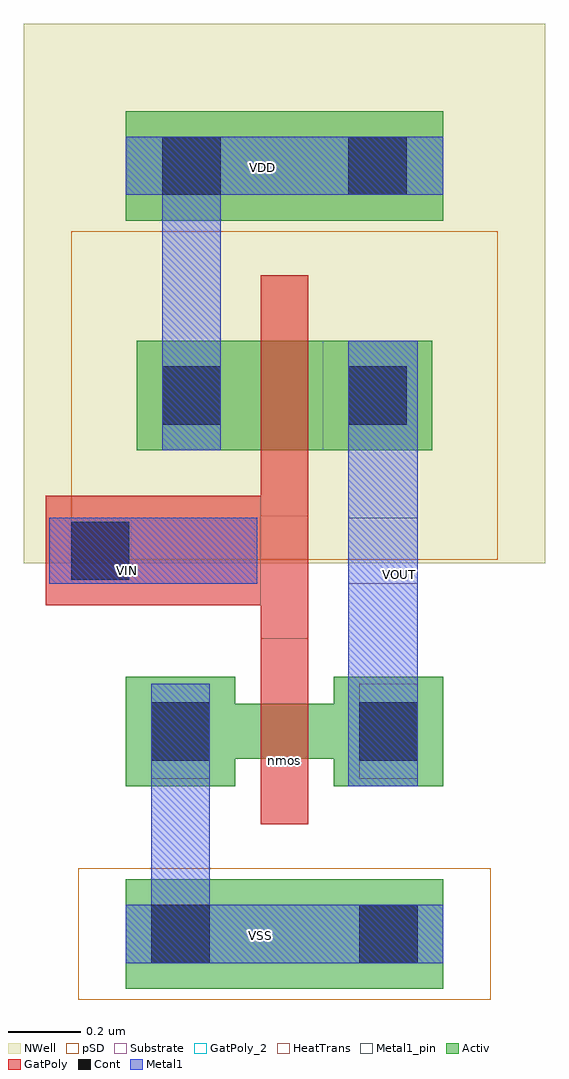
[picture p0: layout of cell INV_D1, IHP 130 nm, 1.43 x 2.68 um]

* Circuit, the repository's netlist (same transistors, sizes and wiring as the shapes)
** sch_path: /home/designer/shared/Training/GROTDC/AND/INV_D1.sch
.subckt INV_D1 VDD VOUT VIN VSS
*.PININFO VDD:B VSS:B VOUT:O VIN:I
M2 VOUT VIN VDD VDD sg13_lv_pmos w=0.3u l=0.13u ng=1 m=1
M1 VOUT VIN VSS VSS sg13_lv_nmos w=0.15u l=0.13u ng=1 m=1
.ends

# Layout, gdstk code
import gdstk
lib = gdstk.Library(unit=1e-6, precision=5e-09)
def R(c, l, rs):  # rectangles x0, y0, x1, y1
    for r in rs: c.add(gdstk.rectangle(r[:2], r[2:], *l))
Activ = (1, 0)
GatPoly = (5, 0)
GatPoly_2 = (5, 2)
Cont = (6, 0)
Metal1 = (8, 0)
Metal1_pin = (8, 2)
pSD = (14, 0)
NWell = (31, 0)
Substrate = (40, 0)
HeatTrans = (51, 0)

nmos = lib.new_cell('nmos')
R(nmos, Activ, [(0,0,0.3,0.3), (0.57,0,0.87,0.3), (0,0.075,0.87,0.225)])
R(nmos, GatPoly, [(0.37,-0.105,0.5,0.405)])
R(nmos, GatPoly_2, [(0.37,-0.105,0.5,0.405)])
R(nmos, Cont, [(0.07,0.07,0.23,0.23), (0.64,0.07,0.8,0.23)])
R(nmos, Metal1, [(0.07,0.02,0.23,0.28), (0.64,0.02,0.8,0.28)])
R(nmos, Metal1_pin, [(0.07,0.02,0.23,0.28), (0.64,0.02,0.8,0.28)])
R(nmos, HeatTrans, [(0.37,-0.105,0.5,0.405)])
nmos.add(gdstk.Label('nmos', (0.435,0.15), layer=63, texttype=0))
nmos.add(gdstk.Label('nmos', (0.435,0.15), layer=51, texttype=0))

pmos_1 = lib.new_cell('pmos$1')
R(pmos_1, Activ, [(0,0,0.3,0.3), (0,0,0.81,0.3), (0.51,0,0.81,0.3)])
R(pmos_1, GatPoly, [(0.34,-0.18,0.47,0.48), (0.34,-0.18,0.47,0.48)])
R(pmos_1, Cont, [(0.07,0.07,0.23,0.23), (0.58,0.07,0.74,0.23)])
R(pmos_1, Metal1, [(0.07,0,0.23,0.3), (0.07,0,0.23,0.3), (0.58,0,0.74,0.3), (0.58,0,0.74,0.3)])
R(pmos_1, pSD, [(-0.18,-0.3,0.99,0.6)])
R(pmos_1, NWell, [(-0.31,-0.31,1.12,0.61)])
R(pmos_1, Substrate, [(0.51,0,0.81,0.3)])
R(pmos_1, HeatTrans, [(0.34,-0.18,0.47,0.48)])
pmos_1.add(gdstk.Label('pmos', (0.405,0.15), layer=63, texttype=0))
pmos_1.add(gdstk.Label('pmos', (0.405,0.15), layer=51, texttype=0))

inv_d1 = lib.new_cell('INV_D1')
R(inv_d1, Activ, [(0.28,0.03,1.15,0.33), (0.28,2.135,1.15,2.435)])
R(inv_d1, GatPoly, [(0.06,1.08,0.65,1.38), (0.65,1.11,0.78,1.325)])
R(inv_d1, GatPoly_2, [(0.06,1.08,0.65,1.38)])
R(inv_d1, Cont, [(0.35,0.1,0.51,0.26), (0.92,0.1,1.08,0.26), (0.13,1.15,0.29,1.31), (0.38,2.205,0.54,2.365), (0.89,2.205,1.05,2.365)])
R(inv_d1, Metal1, [(0.28,0.1,1.15,0.26), (0.07,1.14,0.64,1.32), (0.28,2.205,1.15,2.365)])
R(inv_d1, Metal1_pin, [(0.28,0.1,1.15,0.26), (0.07,1.14,0.64,1.32), (0.89,1.14,1.08,1.32), (0.28,2.205,1.15,2.365)])
R(inv_d1, pSD, [(0.15,0,1.28,0.36)])
R(inv_d1, NWell, [(0,2.115,1.43,2.675)])
R(inv_d1, Substrate, [(0.82,1.505,1.12,1.805)])
inv_d1.add(gdstk.FlexPath([(0.715,1.11),(0.715,0.99)], 0.13, ends="flush", simple_path=True, layer=5, datatype=0))  # GatPoly
inv_d1.add(gdstk.FlexPath([(0.46,1.805),(0.46,2.365)], 0.16, ends="flush", simple_path=True, layer=8, datatype=0))  # Metal1
inv_d1.add(gdstk.FlexPath([(0.985,0.585),(0.985,1.805)], 0.19, ends="flush", simple_path=True, layer=8, datatype=0))  # Metal1
inv_d1.add(gdstk.FlexPath([(0.43,0.865),(0.43,0.1)], 0.16, ends="flush", simple_path=True, layer=8, datatype=0))  # Metal1
inv_d1.add(gdstk.Reference(nmos, (0.28,0.585)))
inv_d1.add(gdstk.Reference(pmos_1, (0.31,1.505)))
inv_d1.add(gdstk.Label('nmos', (0.715,0.655), layer=63, texttype=0))
inv_d1.add(gdstk.Label('VIN', (0.285,1.175), layer=8, texttype=25))
inv_d1.add(gdstk.Label('VOUT', (1.03,1.165), layer=8, texttype=25))
inv_d1.add(gdstk.Label('VDD', (0.655,2.28), layer=8, texttype=25))
inv_d1.add(gdstk.Label('VSS', (0.65,0.175), layer=8, texttype=25))

lib.write_gds('INV_D1.gds')
